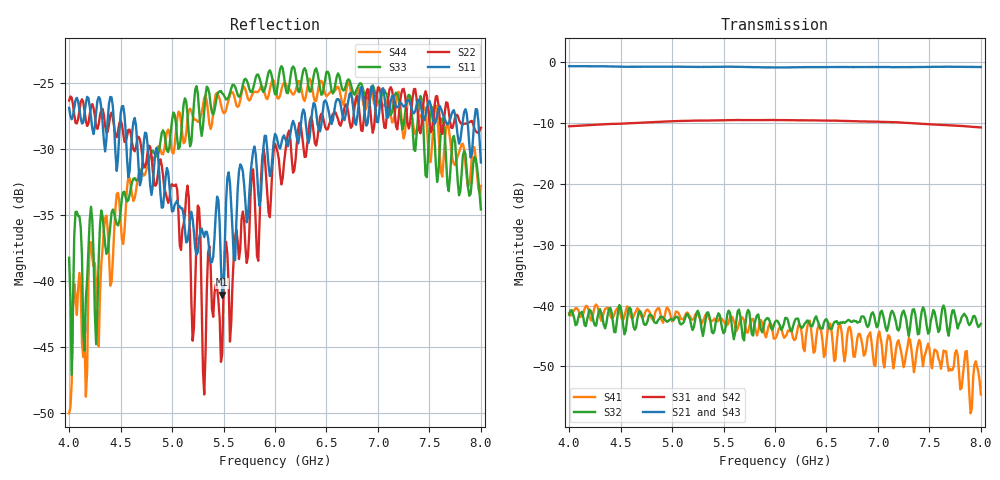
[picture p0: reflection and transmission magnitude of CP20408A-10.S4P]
! Amtery
! Email: info@amtery.com
! Phone: 886-2-2883-7839
! Model Number: CP20408A-10
! 4-port S-parameter measurement data for Bi-Directional Coupler
! Frequency Range: 4 GHz to 8 GHz
! Port 1: Input
! Port 2: Output
! Port 3: Coupled Forward
! Port 4: Coupled Reverse
# Hz S dB R 50
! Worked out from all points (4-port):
!   321 points, 4 GHz to 8 GHz, reference 50 ohm
!   strongest paths, dB at 4 GHz, 5 GHz, 6 GHz, 7 GHz, 8 GHz:
!     S21: -0.6, -0.7, -0.8, -0.7, -0.7
!     S43: -0.6, -0.7, -0.8, -0.8, -0.8
!     S31: -10.5, -9.7, -9.5, -9.7, -10.7
!     S42: -10.6, -9.7, -9.6, -9.8, -10.7
!     S32: -41.5, -42.2, -42.7, -43.3, -43.0
!     S41: -41.2, -42.6, -45.4, -45.0, -54.6
!   lowest |S11| = -41.0 dB at 5.487 GHz (marker M1), VSWR 1.02, Z = 50.5 - j0.763 ohm
!   |S11| at or under -10 dB: start of sweep to end of sweep
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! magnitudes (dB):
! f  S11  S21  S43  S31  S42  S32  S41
! 4 GHz  -26.9  -0.6  -0.6  -10.5  -10.6  -41.5  -41.2
! 4.2 GHz  -26.8  -0.6  -0.7  -10.3  -10.4  -40.7  -41.9
! 4.263 GHz  -27.2  -0.6  -0.8  -10.2  -10.3  -43.3  -39.8
! 4.312 GHz  -26.9  -0.6  -0.8  -10.2  -10.3  -41.2  -42.5
! 5.487 GHz  -41.0  -0.7  -0.9  -9.5  -9.6  -43.9  -42.3
! 5.888 GHz  -29.8  -0.8  -0.8  -9.5  -9.5  -43.7  -43.6
! 8 GHz  -31.0  -0.7  -0.8  -10.7  -10.7  -43.0  -54.6
